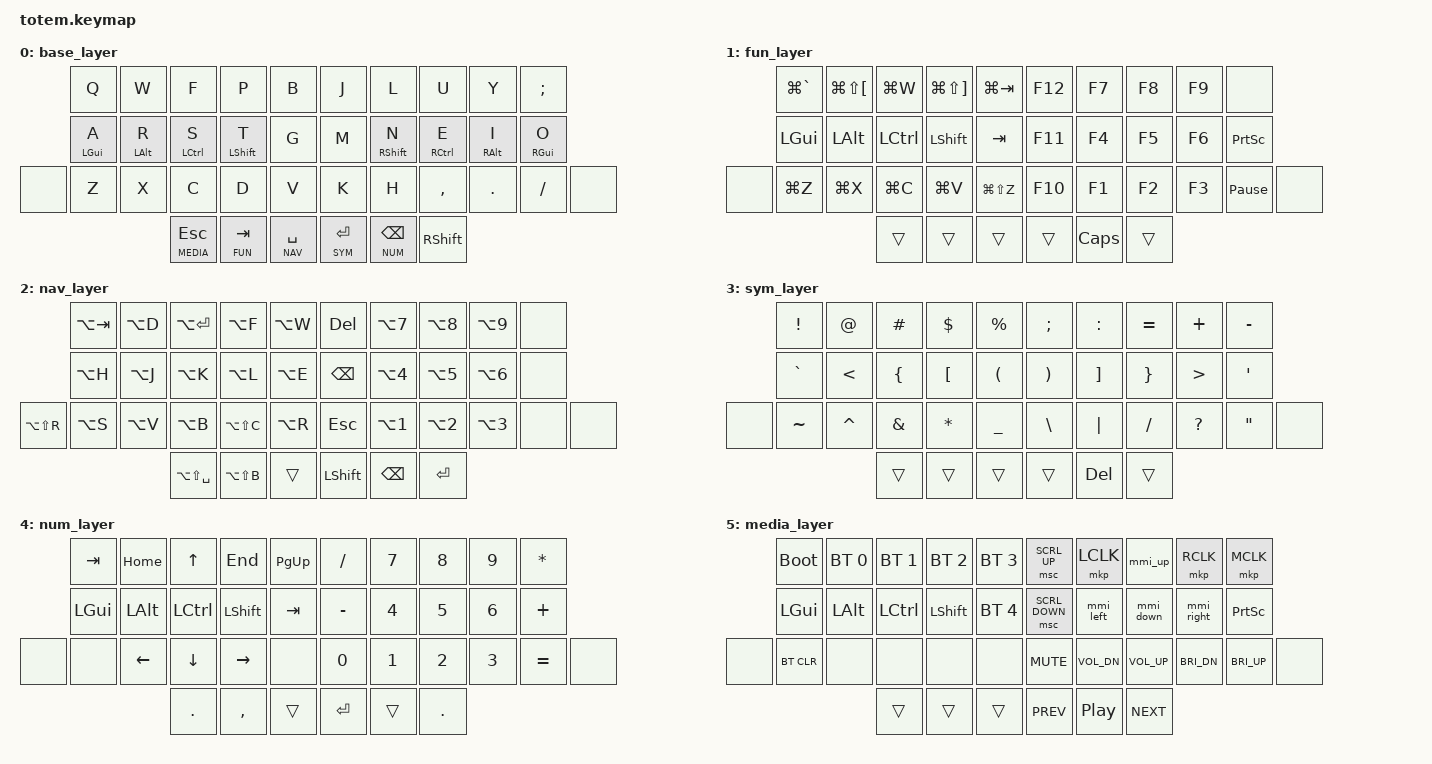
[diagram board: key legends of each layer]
/*
 * Copyright (c) 2022 The ZMK Contributors
 * SPDX-License-Identifier: MIT
 */

#include <behaviors.dtsi>
#include <dt-bindings/zmk/keys.h>
#include <dt-bindings/zmk/bt.h>

// Scroll speed (default: 10)
#define ZMK_POINTING_DEFAULT_SCRL_VAL 20
#include <dt-bindings/zmk/pointing.h>

#include <behaviors/inertia.dtsi>
#include <dt-bindings/zmk/mouse.h>

#define BASE   0
#define FUN    1
#define NAV    2
#define SYM    3
#define NUM    4
#define MEDIA  5

&mt {
    quick-tap-ms = <100>;
    global-quick-tap;
    flavor = "tap-preferred";
    tapping-term-ms = <170>;
};

// Scroll with acceleration
&msc {
    time-to-max-speed-ms = <300>;
    acceleration-exponent = <2>;
};


/ {
    behaviors {
        // Layer-tap with quick-tap for hold-repeat (tap then hold to repeat)
        ltr: layer_tap_repeat {
            compatible = "zmk,behavior-hold-tap";
            #binding-cells = <2>;
            flavor = "tap-preferred";
            tapping-term-ms = <200>;
            quick-tap-ms = <200>;
            bindings = <&mo>, <&kp>;
        };
    };

    combos {
        compatible = "zmk,combos";

        combo_sticky_cmd {
            timeout-ms = <50>;
            key-positions = <16 17 18>;
            bindings = <&sk LGUI>;
        };

        combo_semicolon {
            timeout-ms = <50>;
            key-positions = <28 29>;
            bindings = <&kp SEMI>;
        };

        combo_hyphen {
            timeout-ms = <50>;
            key-positions = <27 28>;
            bindings = <&kp MINUS>;
        };

        combo_tab {
            timeout-ms = <50>;
            key-positions = <21 24>;
            bindings = <&kp TAB>;
        };
    };

    keymap {
        compatible = "zmk,keymap";

        base_layer {
// -----------------------------------------------------------------------------------------
//       |  Q  |  W  |  F  |  P  |  B  |         |  J  |  L  |  U  |  Y  |  ;  |
//       |A/GUI|R/ALT|S/CTL|T/SHF|  G  |         |  M  |N/SHF|E/CTL|I/ALT|O/GUI|
// |     |  Z  |  X  |  C  |  D  |  V  |         |  K  |  H  |  ,  |  .  |  /  |     |
//                   |ESC/M|TAB/F|SPC/N|         |ENT/S|BSP/N| DEL |
            bindings = <
            &kp Q       &kp W       &kp F       &kp P       &kp B           &kp J       &kp L       &kp U       &kp Y       &kp SEMI
            &mt LGUI A  &mt LALT R  &mt LCTRL S &mt LSHFT T &kp G           &kp M       &mt RSHFT N &mt RCTRL E &mt RALT I  &mt RGUI O
    &none   &kp Z       &kp X       &kp C       &kp D       &kp V           &kp K       &kp H       &kp COMMA   &kp DOT     &kp FSLH    &none
                                    &lt MEDIA ESC &lt FUN TAB &ltr NAV SPACE &lt SYM RET &ltr NUM BSPC &kp RSHFT
            >;
        };

        fun_layer {
// -----------------------------------------------------------------------------------------
//       |SW_WN|PV_TB|CL_WN|NX_TB|SW_AP|         | F12 | F7  | F8  | F9  |     |
//       | GUI | ALT | CTL | SHF | TAB |         | F11 | F4  | F5  | F6  |PSCRN|
// |     |UNDO | CUT |COPY |PASTE|REDO |         | F10 | F1  | F2  | F3  |PAUSE|     |
//                   |     |(hld)|     |         |     |CAPS |     |
            bindings = <
            &kp LG(GRAVE) &kp LG(LS(LBKT)) &kp LG(W) &kp LG(LS(RBKT)) &kp LG(TAB)  &kp F12     &kp F7      &kp F8      &kp F9      &none
            &kp LGUI    &kp LALT    &kp LCTRL   &kp LSHFT   &kp TAB         &kp F11     &kp F4      &kp F5      &kp F6      &kp PSCRN
    &none   &kp LG(Z)   &kp LG(X)   &kp LG(C)   &kp LG(V)   &kp LG(LS(Z))  &kp F10     &kp F1      &kp F2      &kp F3      &kp PAUSE_BREAK &none
                                    &trans      &trans      &trans          &trans      &kp CAPS    &trans
            >;
        };

        nav_layer {
// -----------------------------------------------------------------------------------------
//       |A+TAB| A+D |A+RET| A+F | A+W |         | DEL | A+7 | A+8 | A+9 |     |
//       | A+H | A+J | A+K | A+L | A+E |         |BSPC | A+4 | A+5 | A+6 |     |
// |A+S+R| A+S | A+V | A+B |A+S+C| A+R |         | ESC | A+1 | A+2 | A+3 |     |     |
//                   |A+S+F|A+S+B|(hld)|         |SHFT |BSPC | ENT |
            bindings = <
            &kp LA(TAB) &kp LA(D)   &kp LA(RET) &kp LA(F)   &kp LA(W)       &kp DEL     &kp LA(N7)  &kp LA(N8)  &kp LA(N9)  &none
            &kp LA(H)   &kp LA(J)   &kp LA(K)   &kp LA(L)   &kp LA(E)       &kp BSPC    &kp LA(N4)  &kp LA(N5)  &kp LA(N6)  &none
    &kp LA(LS(R)) &kp LA(S) &kp LA(V) &kp LA(B) &kp LA(LS(C)) &kp LA(R)     &kp ESC     &kp LA(N1)  &kp LA(N2)  &kp LA(N3)  &none       &none
                                    &kp LA(LS(SPACE)) &kp LA(LS(B)) &trans    &kp LSHFT   &kp BSPC    &kp RET
            >;
        };

        sym_layer {
// -----------------------------------------------------------------------------------------
//       |  !  |  @  |  #  |  $  |  %  |         |  ;  |  :  |  =  |  +  |  -  |
//       |  `  |  <  |  {  |  [  |  (  |         |  )  |  ]  |  }  |  >  |  '  |
// |     |  ~  |  ^  |  &  |  *  |  _  |         |  \  |  |  |  /  |  ?  |  "  |     |
//                   |     |     |     |         |(hld)| DEL |     |
            bindings = <
            &kp EXCL    &kp AT      &kp HASH    &kp DLLR    &kp PRCNT       &kp SEMI    &kp COLON   &kp EQUAL   &kp PLUS    &kp MINUS
            &kp GRAVE   &kp LT      &kp LBRC    &kp LBKT    &kp LPAR        &kp RPAR    &kp RBKT    &kp RBRC    &kp GT      &kp SQT
    &none   &kp TILDE   &kp CARET   &kp AMPS    &kp ASTRK   &kp UNDER       &kp BSLH    &kp PIPE    &kp FSLH    &kp QMARK   &kp DQT     &none
                                    &trans      &trans      &trans          &trans      &kp DEL     &trans
            >;
        };

        num_layer {
// -----------------------------------------------------------------------------------------
//       | TAB |HOME | UP  | END |PG_UP|         |  /  |  7  |  8  |  9  |  *  |
//       | GUI | ALT | CTL | SHF | TAB |         |  -  |  4  |  5  |  6  |  +  |
// |     |     |LEFT |DOWN |RIGHT|     |         |  0  |  1  |  2  |  3  |  =  |     |
//                   |  .  |  ,  |     |         | ENT |(hld)|  .  |
            bindings = <
            &kp TAB     &kp HOME    &kp UP      &kp END     &kp PG_UP       &kp FSLH    &kp N7      &kp N8      &kp N9      &kp ASTRK
            &kp LGUI    &kp LALT    &kp LCTRL   &kp LSHFT   &kp TAB         &kp MINUS   &kp N4      &kp N5      &kp N6      &kp PLUS
    &none   &none       &kp LEFT    &kp DOWN    &kp RIGHT   &none           &kp N0      &kp N1      &kp N2      &kp N3      &kp EQUAL   &none
                                    &kp DOT     &kp COMMA   &trans          &kp RET     &trans      &kp DOT
            >;
        };

        media_layer {
// -----------------------------------------------------------------------------------------
//       |BOOT | BT0 | BT1 | BT2 | BT3 |         |SCR_U|LCLK |MS_U |RCLK |MCLK |
//       | GUI | ALT | CTL | SHF | BT4 |         |SCR_D|MS_L |MS_D |MS_R |PSCRN|
// |     |BTCLR|     |     |     |     |         |MUTE |VOL- |VOL+ |BRI- |BRI+ |     |
//                   |(hld)|     |     |         |PREV |PLAY |NEXT |
            bindings = <
            &bootloader &bt BT_SEL 0 &bt BT_SEL 1 &bt BT_SEL 2 &bt BT_SEL 3  &msc SCRL_UP &mkp LCLK  &mmi_up    &mkp RCLK   &mkp MCLK
            &kp LGUI    &kp LALT    &kp LCTRL   &kp LSHFT   &bt BT_SEL 4    &msc SCRL_DOWN &mmi_left &mmi_down  &mmi_right  &kp PSCRN
    &none   &bt BT_CLR  &none       &none       &none       &none           &kp C_MUTE  &kp C_VOL_DN &kp C_VOL_UP &kp C_BRI_DN &kp C_BRI_UP &none
                                    &trans      &trans      &trans          &kp C_PREV  &kp C_PP    &kp C_NEXT
            >;
        };
    };
};
